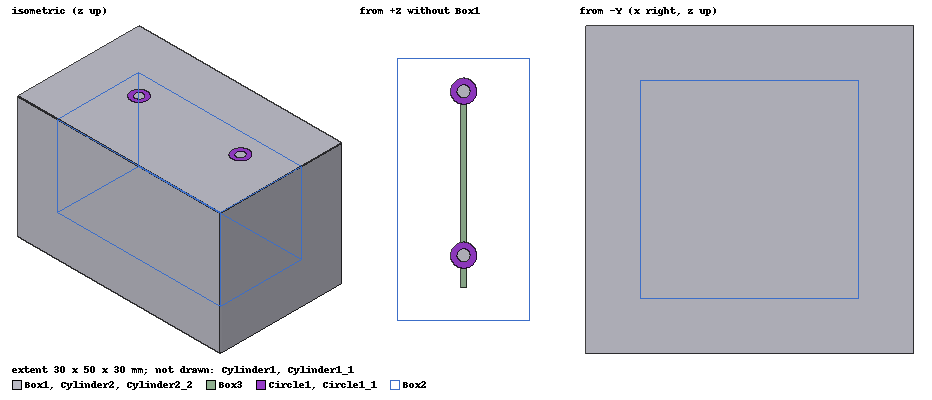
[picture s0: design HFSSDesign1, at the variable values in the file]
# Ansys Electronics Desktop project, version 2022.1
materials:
  vacuum: permittivity=1
  perfect conductor: conductivity=1e+30
  sapphire: permittivity=10

design HFSSDesign1 (HFSS, Eigenmode, model units mm)
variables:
  Xmax = 30mm
  Ymax = 50mm
  Zmax = 30mm
  thickness = 5mm
  radius = 2mm
  offset = 0.01m
  portoff = 10mm
  shiftport = 25mm
  radius1 = 1mm
  Sub_Xmax = 1mm
  Pad_Y = 0.3mm
  Pad_Z = 0.3mm
  L_JJ = 0.05mm
  Lj = 12nH
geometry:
  Box1 [perfect conductor] = box(corner=(-Xmax/2, -Ymax/2, -Zmax/2), size=(Xmax, Ymax, Zmax))
  Box2 [vacuum] = box(corner=(-(Xmax-thickness*2)/2, -(Ymax-thickness*2)/2, -(Zmax-thickness*2)/2), size=(Xmax-thickness*2, Ymax-thickness*2, Zmax-thickness*2))
  Box2_1 = Box2.copy()
  Box1.subtract(Box2_1)
  Cylinder1 [vacuum] = cylinder(axis=Z, base_centre=(0mm, -(Ymax/2-thickness-portoff), Zmax/2), radius=radius, height=-thickness)
  Cylinder2 [perfect conductor] = cylinder(axis=Z, base_centre=(0mm, -(Ymax/2-thickness-portoff), Zmax/2), radius=radius1, height=-thickness)
  Cylinder2_1 = Cylinder2.copy()
  Cylinder1.subtract(Cylinder2_1)
  Cylinder1_1 [vacuum] = Cylinder1.duplicate_along_line(step=(0mm, shiftport, 0mm), total=2)
  Cylinder2_2 [perfect conductor] = Cylinder2.duplicate_along_line(step=(0mm, shiftport, 0mm), total=2)
  Circle1 = circle(normal=Z, centre=(0mm, -(Ymax/2-thickness-portoff), Zmax/2), radius=radius)
  Circle2 = circle(normal=Z, centre=(0mm, -(Ymax/2-thickness-portoff), Zmax/2), radius=radius1)
  Circle1.subtract(Circle2)
  Circle1_1 = Circle1.duplicate_along_line(step=(0mm, shiftport, 0mm), total=2)
  Box3 [sapphire] = box(corner=(-Sub_Xmax/2, -(Ymax-2*thickness-2*5mm)/2, -(Zmax-2*thickness-2*5mm)/2), size=(Sub_Xmax, Ymax-2*thickness-2*5mm, Zmax-2*thickness-2*5mm))
  Rectangle1 = rectangle(corner=(Sub_Xmax/2, -Pad_Y/2, -Pad_Z-L_JJ/2), y_size=Pad_Y, z_size=Pad_Z)
  Rectangle1_1 = Rectangle1.duplicate_along_line(step=(0mm, 0mm, L_JJ+Pad_Z), total=2)
  Rectangle2 = rectangle(corner=(Sub_Xmax/2, -L_JJ/2, -L_JJ/2), y_size=L_JJ, z_size=L_JJ)
  Polyline1 = polyline((Sub_Xmax/2, 0, -L_JJ/2) (Sub_Xmax/2, 0mm, L_JJ/2))
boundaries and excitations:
  LumpRLC1: Lumped RLC Objects=Circle1 CurrentLine{(0, -9, 15) -> (0, -8, 15)} RLC_Type=Parallel Resistance=50ohm
  LumpRLC2: Lumped RLC Objects=Circle1_1 CurrentLine{(0, 16, 15) -> (0, 17, 15)} RLC_Type=Parallel Resistance=50ohm
  PerfE1: Perfect E Objects=Rectangle1
  PerfE2: Perfect E Objects=Rectangle1_1
  LumpRLC3: Lumped RLC Objects=Rectangle2 CurrentLine{(0.5, 0, -0.025) -> (0.5, 0, 0.025)} RLC_Type=Parallel Inductance=Lj
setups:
  Setup1: HfssEigen MinimumFrequency=1GHz NumModes=2 MaxDeltaFreq=1 ConvergeOnRealFreq=true MaximumPasses=8 MinimumPasses=1 MinimumConvergedPasses=1 PercentRefinement=30 BasisOrder=1
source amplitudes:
  #-10:1: 1 0deg
  #-10:2: 0 0deg
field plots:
  Mag_E1: E Field in Box2 on Setup1 : LastAdaptive at Phase=0deg
  Mag_E2: E Field in Box3 on Setup1 : LastAdaptive at Phase=0deg
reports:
  Eigen Modes Plot 2: re(Mode(1)), re(Mode(2)), re(Mode(3)) vs Pass on Setup1 : AdaptivePass; markers m1 at 8, m2 at 8, m3 at 8
